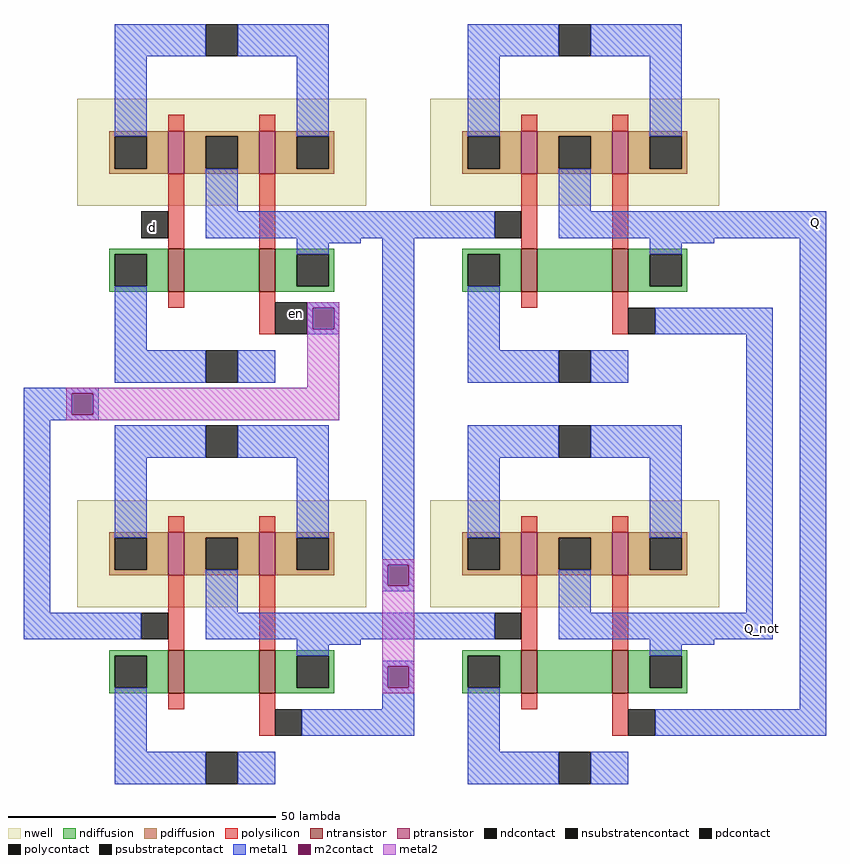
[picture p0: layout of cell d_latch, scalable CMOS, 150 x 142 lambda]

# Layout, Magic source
magic
tech scmos
<< polysilicon >>
rect 44 4 47 9
rect 110 4 113 9
rect 44 -71 47 -66
rect 110 -71 113 -66
<< polycontact >>
rect 22 22 27 27
rect 88 22 93 27
rect 47 4 53 10
rect 113 4 118 9
rect 22 -53 27 -48
rect 88 -53 93 -48
rect 47 -71 52 -66
rect 113 -71 118 -66
<< metal1 >>
rect 63 22 88 27
rect 129 22 150 27
rect 53 9 59 10
rect 53 5 54 9
rect 58 5 59 9
rect 53 4 59 5
rect 0 -7 14 -6
rect 0 -11 9 -7
rect 13 -11 14 -7
rect 0 -12 14 -11
rect 0 -48 5 -12
rect 67 -39 73 22
rect 118 4 140 9
rect 67 -43 68 -39
rect 72 -43 73 -39
rect 67 -44 73 -43
rect 135 -48 140 4
rect 0 -53 22 -48
rect 63 -53 88 -48
rect 129 -53 140 -48
rect 67 -58 73 -57
rect 67 -62 68 -58
rect 72 -62 73 -58
rect 67 -66 73 -62
rect 145 -66 150 22
rect 52 -71 73 -66
rect 118 -71 150 -66
<< m2contact >>
rect 54 5 58 9
rect 9 -11 13 -7
rect 68 -43 72 -39
rect 68 -62 72 -58
<< metal2 >>
rect 53 9 59 10
rect 53 5 54 9
rect 58 5 59 9
rect 53 -6 59 5
rect 8 -7 59 -6
rect 8 -11 9 -7
rect 13 -11 59 -7
rect 8 -12 59 -11
rect 67 -39 73 -38
rect 67 -43 68 -39
rect 72 -43 73 -39
rect 67 -58 73 -43
rect 67 -62 68 -58
rect 72 -62 73 -58
rect 67 -63 73 -62
use nand_gate  nand_gate_0 ~/Documents/vlsi_layouts/logic_gates/nand_gate
transform 1 0 16 0 1 34
box -6 -39 48 28
use nand_gate  nand_gate_1
transform 1 0 16 0 1 -41
box -6 -39 48 28
use nand_gate  nand_gate_2
transform 1 0 82 0 1 34
box -6 -39 48 28
use nand_gate  nand_gate_3
transform 1 0 82 0 1 -41
box -6 -39 48 28
<< labels >>
rlabel polycontact 51 8 51 8 1 en
rlabel polycontact 24 24 24 24 1 d
rlabel metal1 148 25 148 25 7 Q
rlabel metal1 138 -51 138 -51 1 Q_not
<< end >>

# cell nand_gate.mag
magic
tech scmos
<< nwell >>
rect -6 -6 48 14
<< ntransistor >>
rect 11 -22 14 -14
rect 28 -22 31 -14
<< ptransistor >>
rect 11 0 14 8
rect 28 0 31 8
<< ndiffusion >>
rect 0 -15 11 -14
rect 0 -21 1 -15
rect 7 -21 11 -15
rect 0 -22 11 -21
rect 14 -22 28 -14
rect 31 -15 42 -14
rect 31 -21 35 -15
rect 41 -21 42 -15
rect 31 -22 42 -21
<< pdiffusion >>
rect 0 7 11 8
rect 0 1 1 7
rect 7 1 11 7
rect 0 0 11 1
rect 14 7 28 8
rect 14 1 18 7
rect 24 1 28 7
rect 14 0 28 1
rect 31 7 42 8
rect 31 1 35 7
rect 41 1 42 7
rect 31 0 42 1
<< ndcontact >>
rect 1 -21 7 -15
rect 35 -21 41 -15
<< pdcontact >>
rect 1 1 7 7
rect 18 1 24 7
rect 35 1 41 7
<< psubstratepcontact >>
rect 18 -39 24 -33
<< nsubstratencontact >>
rect 18 22 24 28
<< polysilicon >>
rect 11 8 14 11
rect 28 8 31 11
rect 11 -14 14 0
rect 28 -14 31 0
rect 11 -25 14 -22
rect 28 -25 31 -22
<< metal1 >>
rect 1 22 18 28
rect 24 22 41 28
rect 1 7 7 22
rect 35 7 41 22
rect 18 -7 24 1
rect 18 -12 47 -7
rect 35 -13 47 -12
rect 35 -15 41 -13
rect 1 -33 7 -21
rect 1 -39 18 -33
rect 24 -39 31 -33
<< labels >>
rlabel metal1 15 -36 15 -36 1 gnd
rlabel metal1 15 25 15 25 5 vdd
rlabel polysilicon 12 -13 12 -13 1 A
rlabel polysilicon 29 -13 29 -13 1 B
rlabel metal1 44 -10 44 -10 7 Z
<< end >>
